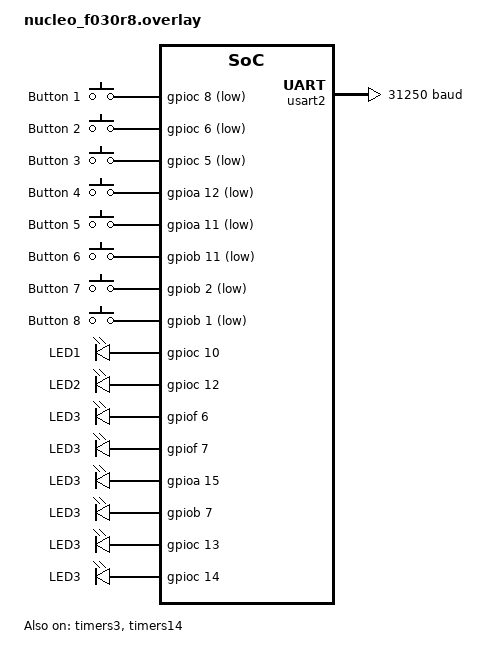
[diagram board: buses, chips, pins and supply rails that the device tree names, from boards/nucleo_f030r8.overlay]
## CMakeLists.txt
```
# SPDX-License-Identifier: Apache-2.0

cmake_minimum_required(VERSION 3.20.0)
find_package(Zephyr REQUIRED HINTS $ENV{ZEPHYR_BASE})
project(midi1_arp)

target_sources(app PRIVATE 
    src/main.c
)
```

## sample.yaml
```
# SPDX-License-Identifier: Apache-2.0

sample:
  name: MIDI 1.0 Arpeggiator Demo
tests:
  sample.midi1_arp:
    platform_allow:
      - frdm_k64f
      - frdm_mcxc242
    harness: console
    harness_config:
      type: one_line
      regex:
        - "Arpeggiator running"
```

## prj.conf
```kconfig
# SPDX-License-Identifier: Apache-2.0

# MIDI 1.0 Arpeggiator Application
CONFIG_LOG=y
CONFIG_BOOT_BANNER=y

# Driver support
CONFIG_MIDI1_SERIAL=y
CONFIG_MIDI1_CLOCK_CNTR=y
CONFIG_MIDI1_HARMONIC=y

# Require larger buffers for handling inputs and outputs concurrently
CONFIG_MIDI1_SERIAL_TX_BUF_SIZE=128

# Footprint settings
CONFIG_IDLE_STACK_SIZE=256
CONFIG_ISR_STACK_SIZE=2048
CONFIG_MAIN_STACK_SIZE=1024
```

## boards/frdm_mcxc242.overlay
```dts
/*
 * SPDX-License-Identifier: Apache-2.0
 */

/**
 * @file frdm_mcxc242.overlay
 * @brief Combined overlay for hybrid MIDI test on MCXC242
 */

/ {
	midi0: midi0 {
		status = "okay";
		compatible = "midi1_serial";
		uart = <&lpuart0>;
	};

	midi1: midi1 {
		status = "okay";
		compatible = "midi1_serial";
		uart = <&lpuart1>;
	};

	midi1_clock_cntr_0: midi1_clock_cntr_0 {
		compatible = "midi1_clock_cntr";
		counter = <&pit0_channel0>;
		midi1_serial = <&midi0>;
		status = "okay";
	};
};

&lpuart0 {
	status = "okay";
	current-speed = <31250>;
};

&lpuart1 {
	status = "okay";
	current-speed = <31250>;
};

&pinctrl {
	pinmux_lpuart0: pinmux_lpuart0 {
		group0 {
			/* Strongest drive + fast edges */
			drive-strength = "high";
			slew-rate = "fast";
		};
	};
	pinmux_lpuart1: pinmux_lpuart1 {
		group0 {
			/* Strongest drive + fast edges */
			drive-strength = "high";
			slew-rate = "fast";
		};
	};
};

&pit0 {
	status = "okay";
};

&pit0_channel0 {
	status = "okay";
};
```

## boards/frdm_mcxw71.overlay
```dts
/*
 * SPDX-License-Identifier: Apache-2.0
 */

/**
 * @file frdm_mcxw71.overlay
 * @brief Overlay for MIDI 1.0 Hybrid Test on FRDM-MCXW71
 *
 * MIDI Serial: LPUART0 (Arduino Header D0/D1)
 * MIDI Clock: LPIT0 Channel 0
 * MIDI Measurement: LPIT0 Channel 1
 */

&lpuart0 {
	status = "okay";
	current-speed = <31250>;
};

&lpit0 {
	status = "okay";
};

&lpit1_channel0 {
	status = "okay";
};

&lpit1_channel1 {
	status = "okay";
};

/ {
	midi0: midi0 {
		status = "okay";
		compatible = "midi1_serial";
		uart = <&lpuart0>;
	};

	midi1_clock_cntr_0: midi1_clock_cntr_0 {
		compatible = "midi1_clock_cntr";
		counter = <&lpit1_channel0>;
		midi1_serial = <&midi0>;
		status = "okay";
	};

	midi1_clock_meas_cntr_0: midi1_clock_meas_cntr_0 {
		compatible = "midi1_clock_meas_cntr";
		counter = <&lpit1_channel1>;
		status = "okay";
	};
};
```

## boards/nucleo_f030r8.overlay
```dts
/*
 * Overlay for the KORG NTS-1 custom board.
 * created for zephyr by Jan-Willem Smaal 20250116
 */

&leds {
	compatible = "gpio-leds";
	ld1: ld_1 {
		gpios = < &gpioc 10 0x0 >;
		label = "LED1";
	};
	ld2: ld_2 {
		gpios = < &gpioc 12 0x0 >;
		label = "LED2";
	};
	ld3: ld_3 {
		gpios = < &gpiof 6 0x0 >;
		label = "LED3";
	};
	ld4: ld_4 {
		gpios = < &gpiof 7 0x0 >;
		label = "LED3";
	};
	ld5: ld_5 {
		gpios = < &gpioa 15 0x0 >;
		label = "LED3";
	};
	ld6: ld_6 {
		gpios = < &gpiob 7 0x0 >;
		label = "LED3";
	};
	ld7: ld_7 {
		gpios = < &gpioc 13 0x0 >;
		label = "LED3";
	};
	ld8: ld_8 {
		gpios = < &gpioc 14 0x0 >;
		label = "LED3";
	};
};

/ {
	buttons {
		compatible = "gpio-keys";
		sw1: sw_1 {
			gpios = <&gpioc 8 (GPIO_PULL_UP | GPIO_ACTIVE_LOW)>;
			label = "Button 1";
		};
		sw2: sw_2 {
			gpios = <&gpioc 6 (GPIO_PULL_UP | GPIO_ACTIVE_LOW)>;
			label = "Button 2";
		};
		sw3: sw_3 {
			gpios = <&gpioc 5 (GPIO_PULL_UP | GPIO_ACTIVE_LOW)>;
			label = "Button 3";
		};
		sw4: sw_4 {
			gpios = <&gpioa 12 (GPIO_PULL_UP | GPIO_ACTIVE_LOW)>;
			label = "Button 4";
		};
		sw5: sw_5 {
			gpios = <&gpioa 11 (GPIO_PULL_UP | GPIO_ACTIVE_LOW)>;
			label = "Button 5";
		};
		sw6: sw_6 {
			gpios = <&gpiob 11 (GPIO_PULL_UP | GPIO_ACTIVE_LOW)>;
			label = "Button 6";
		};
		sw7: sw_7 {
			gpios = <&gpiob 2 (GPIO_PULL_UP | GPIO_ACTIVE_LOW)>;
			label = "Button 7";
		};
		sw8: sw_8 {
			gpios = <&gpiob 1 (GPIO_PULL_UP | GPIO_ACTIVE_LOW)>;
			label = "Button 8";
		};
	};

	aliases {
		sw0  = &sw8;
		sw1  = &sw1;
		sw2  = &sw2;
		sw3  = &sw3;
		sw4  = &sw4;
		sw5  = &sw5;
		sw6  = &sw6;
		sw7  = &sw7;
		sw8  = &sw8;
		led0 = &ld8;
		led1 = &ld1;
		led2 = &ld2;
		led3 = &ld3;
		led4 = &ld4;
		led5 = &ld5;
		led6 = &ld6;
		led7 = &ld7;
		led8 = &ld8;
	};

	/* MIDI1.0 Serial Configuration - Moved to USART2 (ST-Link VCOM) */
	midi0: midi0 {
		status = "okay";
		compatible = "midi1_serial";
		uart = <&usart2>;
	};

	/* MIDI1.0 Clock Generator */
	midi1_clock_cntr_0: midi1_clock_cntr_0 {
		compatible = "midi1_clock_cntr";
		counter = <&timers3_counter>;
		midi1_serial = <&midi0>;
		status = "okay";
	};

	/* MIDI1.0 Clock Measurement */
	midi1_clock_meas_cntr_0: midi1_clock_meas_cntr_0 {
		compatible = "midi1_clock_meas_cntr";
		counter = <&timers14_counter>;
		status = "okay";
	};
};

/* MIDI USART configuration on PA2/PA3 (ST-Link Virtual COM Port) */
&usart2 {
	status = "okay";
	current-speed = <31250>;
};

/* Enable hardware timers as counters for MIDI timing */
&timers3 {
	status = "okay";
	st,prescaler = <1000>;
	timers3_counter: counter {
		status = "okay";
	};
};

&timers14 {
	status = "okay";
	st,prescaler = <1000>;
	timers14_counter: counter {
		status = "okay";
	};
};
```

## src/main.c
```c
/*
 * SPDX-License-Identifier: Apache-2.0
 */

/**
 * @file main.c
 * @brief MIDI 1.0 Arpeggiator Sample
 *
 * @author Jan-Willem Smaal <usenet@gispen.org>
 * @updated 20260403
 *
 * This sample demonstrates a simple arpeggiator that listens for MIDI Note On/Off
 * events over a serial MIDI interface and plays them back in sequence, synchronized
 * to a MIDI clock.
 */

#include <zephyr/kernel.h>
#include <zephyr/device.h>
#include <zephyr/drivers/midi/midi1.h>
#include <zephyr/drivers/midi/midi1_serial.h>
#include <zephyr/drivers/midi/midi1_clock_cntr.h>
#include <zephyr/logging/log.h>

/* In order to print out the note names (e.g., C4, D#5) */
#include <zephyr/midi1/note.h>

LOG_MODULE_REGISTER(midi1_arp_sample, LOG_LEVEL_INF);

/* 
 * The target BPM for the internal clock generator.
 * Scaled by 100 (e.g., 12000 = 120.00 BPM).
 */
#define TARGET_BPM CONFIG_MIDI1_ARP_TARGET_BPM

/* 
 * MIDI channels are 0-indexed in the driver (0-15), 
 * while users typically think 1-16.
 */
#define MY_MIDI1_CHAN (CONFIG_MIDI1_SERIAL_CHANNEL - 1)

/* Maximum number of notes that can be held in the arpeggiator buffer */
#define MAX_NOTES CONFIG_MIDI1_ARP_NUMBER_OF_NOTES

struct note {
	uint8_t note;     /* MIDI Note Number (0-127) */
	uint8_t velocity; /* MIDI Velocity (0-127) */
};

/* --- Global State --- */

static struct note notes[MAX_NOTES];     /* Buffer of currently held notes */
static bool arp_running = false;         /* True if the arpeggiator is currently playing a note */
static uint8_t playing_pitch = 0;        /* The pitch of the currently sounding note (for note-off) */
static int num_active_notes = 0;         /* Number of notes currently in the 'notes' buffer */
static int current_note_idx = 0;         /* Index of the next note to play in the sequence */

/* 
 * Mutex to protect all shared state variables above.
 * This is critical because they are accessed by:
 * 1. The Receive Thread (note_on/off_handler)
 * 2. The System Work Queue (arp_work_handler)
 * 3. The Main Thread (logging)
 */
K_MUTEX_DEFINE(arp_mutex);

static const struct device *midi_serial;
static const struct midi1_serial_api *mid;
static const struct device *midi_clock;
static const struct midi1_clock_cntr_api *clk;

/* 
 * Semaphore used to ensure the receive thread doesn't start
 * until main() has finished initializing the device pointers.
 */
K_SEM_DEFINE(init_sem, 0, 1);

static int clock_pulses = 0;   /* Counter for MIDI clock ticks (24 PPQN) */
static struct k_work arp_work; /* Work item to offload arpeggio logic from ISR context */

/**
 * @brief Arpeggiator Work Handler
 *
 * This function executes in the system workqueue context. It handles the 
 * "Heavy lifting" of switching notes, which involves sending MIDI commands.
 */
void arp_work_handler(struct k_work *work)
{
	k_mutex_lock(&arp_mutex, K_FOREVER);

	if (num_active_notes > 0) {
		/* Stop the previous note if one was playing */
		if (arp_running) {
			mid->note_off(midi_serial,
				      MY_MIDI1_CHAN,
				      playing_pitch,
				      0);
		}

		/* Bounds check/Wrap around the sequence index */
		if (current_note_idx >= num_active_notes) {
			current_note_idx = 0;
		}

		/* Start the next note using its original recorded velocity */
		playing_pitch = notes[current_note_idx].note;
		mid->note_on(midi_serial,
			     MY_MIDI1_CHAN,
			     playing_pitch,
			     notes[current_note_idx].velocity);
		arp_running = true;

		/* Advance the sequence */
		current_note_idx++;
	} else {
		/* If no notes are held, ensure the arpeggiator is silent */
		if (arp_running) {
			mid->note_off(midi_serial,
				      MY_MIDI1_CHAN,
				      playing_pitch,
				      0);
			arp_running = false;
		}
	}

	k_mutex_unlock(&arp_mutex);
}

/**
 * @brief MIDI Clock Tick Callback
 *
 * This is called from the MIDI Clock Counter driver's ISR context
 * every time a clock pulse occurs (usually 24 times per quarter note).
 */
void clock_tick_callback(void)
{
	clock_pulses++;

	/* 
	 * Trigger arpeggio step based on the configured timing interval.
	 * Default is usually 6 pulses for 16th notes (24 PPQN / 4 = 6).
	 */
	if (clock_pulses >= CONFIG_MIDI1_ARP_TIMING_INTERVAL) {
		clock_pulses = 0;
		/*
		 * offload MIDI transmission to a workqueue because
		 * sending data over UART/USB from an ISR is unsafe.
		 */
		k_work_submit(&arp_work);
	}
}

/**
 * @brief MIDI Note On Handler
 *
 * Called by the receiveparser whenever a Note On message is received.
 */
void note_on_handler(uint8_t channel, uint8_t note, uint8_t velocity)
{
	k_mutex_lock(&arp_mutex, K_FOREVER);

	if (velocity == 0) {
		/*
		 * Some controllers send a Note On with Velocity 0 which is
		 * the same as Note Off.  Especially when using running status.
		 */
		for (int i = 0; i < num_active_notes; i++) {
			if (notes[i].note == note) {
				/* Remove the note and shift the remaining ones down */
				for (int j = i; j < num_active_notes - 1; j++) {
					notes[j] = notes[j + 1];
				}
				num_active_notes--;
				break;
			}
		}
	} else {
		/* Add new note to the end of our buffer if there's room */
		if (num_active_notes < MAX_NOTES) {
			notes[num_active_notes].note = note;
			notes[num_active_notes].velocity = velocity;
			num_active_notes++;
		}
	}
	k_mutex_unlock(&arp_mutex);
}

/**
 * @brief MIDI Note Off Handler
 *
 * Called by the receiveparser whenever a Note Off message is received.
 */
void note_off_handler(uint8_t channel, uint8_t note, uint8_t velocity)
{
	k_mutex_lock(&arp_mutex, K_FOREVER);

	/* Find the note in our buffer and remove it */
	for (int i = 0; i < num_active_notes; i++) {
		if (notes[i].note == note) {
			for (int j = i; j < num_active_notes - 1; j++) {
				notes[j] = notes[j + 1];
			}
			num_active_notes--;
			break;
		}
	}
	k_mutex_unlock(&arp_mutex);
}

/**
 * @brief MIDI Receive Thread
 *
 * Dedicated thread for processing incoming serial MIDI data.
 */
void midi1_serial_receive_thread(void)
{
	/* Wait until main() says hardware is ready */
	k_sem_take(&init_sem, K_FOREVER);

	if (!device_is_ready(midi_serial)) {
		LOG_ERR("receive_thread Serial MIDI1 device not ready");
		return;
	}

	/* Register our app callbacks with the driver-level parser */
	struct midi1_serial_callbacks my_cb = {
		.note_on = note_on_handler,
		.note_off = note_off_handler,
	};
	mid->register_callbacks(midi_serial, &my_cb);

	while (1) {
		/* 
		 * Continuously poll the UART and run the state machine 
		 * to parse MIDI bytes into messages.
		 */
		mid->receiveparser(midi_serial);
	}
}

/* Define the receive thread with priority 5 */
K_THREAD_DEFINE(midi1_serial_receive_tid, 1024,
		midi1_serial_receive_thread, NULL, NULL, NULL, 5, 0, 0);

int main(void)
{
	/* Retrieve device pointers from Devicetree */
	midi_serial = DEVICE_DT_GET(DT_NODELABEL(midi1));
	midi_clock = DEVICE_DT_GET_ANY(midi1_clock_cntr);

	/* Verify hardware readiness */
	if (!device_is_ready(midi_serial)) {
		LOG_ERR("Serial MIDI device midi1 not ready");
		return -ENODEV;
	}
	mid = midi_serial->api;

	if (midi_clock == NULL || !device_is_ready(midi_clock)) {
		LOG_ERR("MIDI clock counter device not ready");
		return -ENODEV;
	}
	clk = midi_clock->api;

	/* Signal the receive thread to start and init work item */
	k_sem_give(&init_sem);
	k_work_init(&arp_work, arp_work_handler);

	LOG_INF("Starting Arpeggiator Demo");

	/* Register callback to be notified of clock ticks */
	clk->register_callback(midi_clock, clock_tick_callback);

	/* Start the internal clock generation at the target BPM */
	clk->gen(midi_clock, TARGET_BPM);

	/* Main loop for status logging */
	while (1) {
		k_mutex_lock(&arp_mutex, K_FOREVER);
		
		if (num_active_notes > 0) {
			LOG_INF("Arpeggiator running. Notes held: %d", num_active_notes);
		} else {
			LOG_INF("Arpeggiator stopped. Waiting for notes...");
		}

		/* Print out the current buffer of notes with their velocities */
		for (uint8_t i = 0; i < num_active_notes; i++) {
			LOG_INF("[%d]: %s (Vel: %d)", i,
				harm_note_to_text_with_octave(notes[i].note, false),
				notes[i].velocity);
		}
		
		k_mutex_unlock(&arp_mutex);
		
		k_sleep(K_SECONDS(2));
	}

	return 0;
}
```

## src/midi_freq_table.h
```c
/*
 * SPDX-License-Identifier: Apache-2.0
 */

/**
 * @file midi_freq_table.h
 * Precomputed frequencies for MIDI notes 0–127
 * used for embedded systems.  Based op A4 = 440Hz.
 * used by "note.h  / note.c" for the noteToFreq() function
 *
 * @author Jan-Willem Smaal <usenet@gispen.org>
 */
#ifndef MIDI_FREQ_TABLE_H
#define MIDI_FREQ_TABLE_H

#include <stdint.h>

/* Base frequency for A4 (MIDI note 69) */
#define BASE_A4_NOTE_FREQ 440.0f

/* Precomputed frequencies for MIDI notes 0–127 (C-1 to G9) */
static const float midi_freq_table[128] = {
#include "midi_freq_table.inc"
};

#endif /* MIDI_FREQ_TABLE_H */
```
